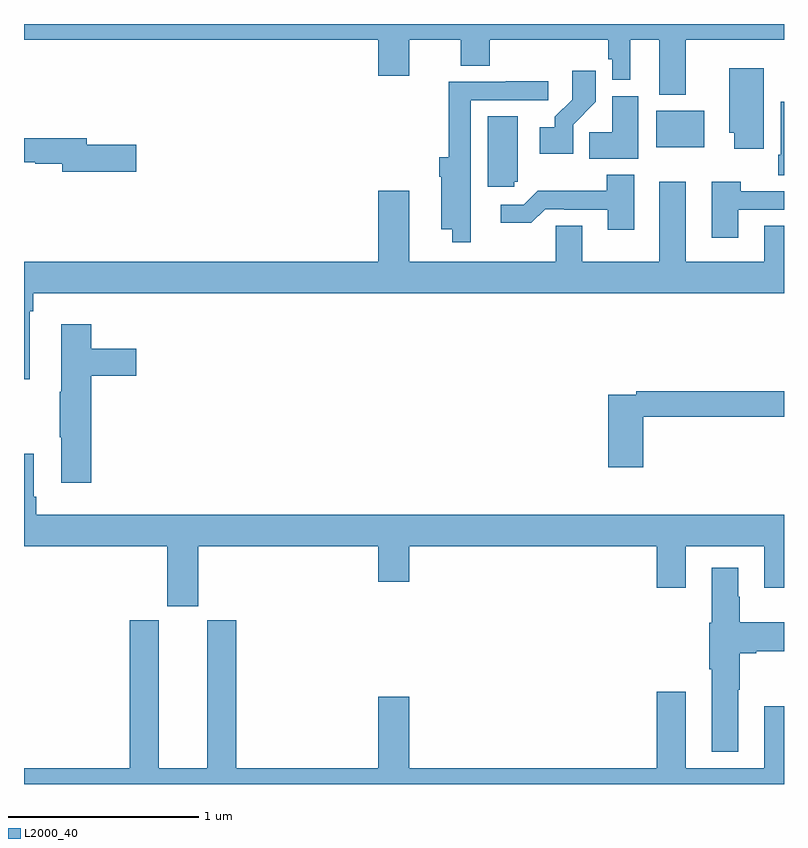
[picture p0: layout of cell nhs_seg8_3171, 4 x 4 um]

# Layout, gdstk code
import gdstk
lib = gdstk.Library(unit=1e-6, precision=1e-09)
def R(c, l, rs):  # rectangles x0, y0, x1, y1
    for r in rs: c.add(gdstk.rectangle(r[:2], r[2:], *l))
def P(c, l, *ps):  # polygons
    for p in ps: c.add(gdstk.Polygon(p, *l))
L2000_40 = (2000, 40)

nhs_seg8_3171 = lib.new_cell('nhs_seg8_3171')
R(nhs_seg8_3171, L2000_40, [(310.328,1133.252,310.579,1133.443)])
P(nhs_seg8_3171, L2000_40, [(310.483,1133.816),(311,1133.816),(311,1133.9),(307,1133.9),(307,1133.816),(308.864,1133.816),(308.864,1133.628),(309.028,1133.628),(309.028,1133.816),(309.299,1133.816),(309.299,1133.68),(309.452,1133.68),(309.452,1133.816),(310.075,1133.816),(310.075,1133.715),(310.095,1133.715),(310.095,1133.606),(310.192,1133.606),(310.192,1133.816),(310.343,1133.816),(310.343,1133.528),(310.483,1133.528)],
  [(310.894,1133.668),(310.712,1133.668),(310.712,1133.328),(310.739,1133.328),(310.739,1133.244),(310.894,1133.244)],
  [(309.891,1133.371),(310.01,1133.49),(310.01,1133.653),(309.885,1133.653),(309.885,1133.501),(309.794,1133.411),(309.794,1133.356),(309.714,1133.356),(309.714,1133.216),(309.891,1133.216)],
  [(309.351,1133.499),(309.76,1133.499),(309.76,1133.598),(309.535,1133.598),(309.535,1133.595),(309.235,1133.595),(309.235,1133.2),(309.185,1133.2),(309.185,1133.096),(309.197,1133.096),(309.197,1132.82),(309.253,1132.82),(309.253,1132.752),(309.351,1132.752)],
  [(310.234,1133.521),(310.097,1133.521),(310.097,1133.33),(309.976,1133.33),(309.976,1133.192),(310.234,1133.192)],
  [(311,1133.491),(310.982,1133.491),(310.982,1133.212),(310.97,1133.212),(310.97,1133.104),(311,1133.104)],
  [(309.579,1133.07),(309.598,1133.07),(309.598,1133.414),(309.44,1133.414),(309.44,1133.043),(309.579,1133.043)],
  [(307.591,1133.264),(307.33,1133.264),(307.33,1133.3),(307,1133.3),(307,1133.172),(307.059,1133.172),(307.059,1133.164),(307.202,1133.164),(307.202,1133.122),(307.591,1133.122)],
  [(310.213,1133.107),(310.066,1133.107),(310.066,1133.023),(309.703,1133.023),(309.63,1132.95),(309.51,1132.95),(309.51,1132.853),(309.671,1132.853),(309.744,1132.926),(309.844,1132.926),(309.844,1132.923),(310.073,1132.923),(310.073,1132.818),(310.213,1132.818)],
  [(310.759,1132.923),(311,1132.923),(311,1133.019),(310.772,1133.019),(310.772,1133.071),(310.619,1133.071),(310.619,1132.776),(310.759,1132.776)],
  [(307.03,1132.388),(307.049,1132.388),(307.049,1132.484),(311,1132.484),(311,1132.838),(310.895,1132.838),(310.895,1132.648),(310.483,1132.648),(310.483,1133.071),(310.343,1133.071),(310.343,1132.648),(309.937,1132.648),(309.937,1132.838),(309.798,1132.838),(309.798,1132.648),(309.028,1132.648),(309.028,1133.023),(308.864,1133.023),(308.864,1132.648),(307,1132.648),(307,1132.029),(307.03,1132.029)],
  [(307.355,1132.049),(307.591,1132.049),(307.591,1132.191),(307.355,1132.191),(307.355,1132.321),(307.196,1132.321),(307.196,1131.965),(307.189,1131.965),(307.189,1131.724),(307.196,1131.724),(307.196,1131.486),(307.355,1131.486)],
  [(310.259,1131.832),(311,1131.832),(311,1131.968),(310.222,1131.968),(310.222,1131.948),(310.076,1131.948),(310.076,1131.567),(310.259,1131.567)],
  [(307.918,1131.152),(308.864,1131.152),(308.864,1130.964),(309.028,1130.964),(309.028,1131.152),(310.331,1131.152),(310.331,1130.934),(310.483,1130.934),(310.483,1131.152),(310.895,1131.152),(310.895,1130.934),(311,1130.934),(311,1131.316),(307.064,1131.316),(307.064,1131.412),(307.051,1131.412),(307.051,1131.637),(307,1131.637),(307,1131.152),(307.754,1131.152),(307.754,1130.835),(307.918,1130.835)],
  [(310.759,1130.395),(310.767,1130.395),(310.767,1130.588),(310.855,1130.588),(310.855,1130.6),(311,1130.6),(311,1130.752),(310.767,1130.752),(310.767,1130.886),(310.759,1130.886),(310.759,1131.037),(310.619,1131.037),(310.619,1130.748),(310.607,1130.748),(310.607,1130.504),(310.619,1130.504),(310.619,1130.069),(310.759,1130.069)],
  [(311,1130.308),(310.895,1130.308),(310.895,1129.984),(310.483,1129.984),(310.483,1130.386),(310.331,1130.386),(310.331,1129.984),(309.028,1129.984),(309.028,1130.359),(308.864,1130.359),(308.864,1129.984),(308.117,1129.984),(308.117,1130.763),(307.964,1130.763),(307.964,1129.984),(307.708,1129.984),(307.708,1130.763),(307.556,1130.763),(307.556,1129.984),(307,1129.984),(307,1129.9),(311,1129.9)])

lib.write_gds('nhs_seg8_3171.gds')
